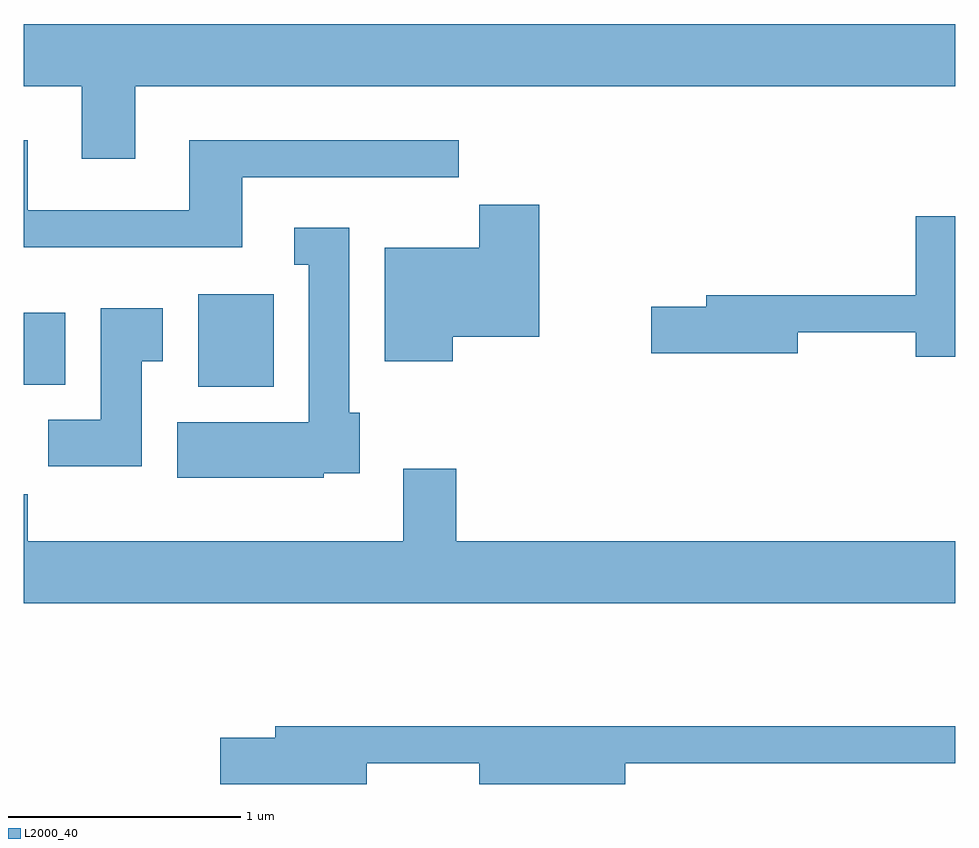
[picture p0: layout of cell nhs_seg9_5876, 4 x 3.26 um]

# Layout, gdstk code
import gdstk
lib = gdstk.Library(unit=1e-6, precision=1e-09)
def R(c, l, rs):  # rectangles x0, y0, x1, y1
    for r in rs: c.add(gdstk.rectangle(r[:2], r[2:], *l))
def P(c, l, *ps):  # polygons
    for p in ps: c.add(gdstk.Polygon(p, *l))
L2000_40 = (2000, 40)

nhs_seg9_5876 = lib.new_cell('nhs_seg9_5876')
R(nhs_seg9_5876, L2000_40, [(358.361,2068.226,358.684,2068.624), (357.611,2068.236,357.789,2068.544)])
P(nhs_seg9_5876, L2000_40, [(358.089,2069.516),(361.611,2069.516),(361.611,2069.784),(357.611,2069.784),(357.611,2069.516),(357.861,2069.516),(357.861,2069.206),(358.089,2069.206)],
  [(358.549,2069.126),(359.478,2069.126),(359.478,2069.284),(358.321,2069.284),(358.321,2068.984),(357.629,2068.984),(357.629,2069.284),(357.611,2069.284),(357.611,2068.826),(358.549,2068.826)],
  [(359.454,2068.441),(359.824,2068.441),(359.824,2069.009),(359.566,2069.009),(359.566,2068.824),(359.161,2068.824),(359.161,2068.336),(359.454,2068.336)],
  [(361.611,2068.959),(361.441,2068.959),(361.441,2068.619),(360.541,2068.619),(360.541,2068.569),(360.306,2068.569),(360.306,2068.371),(360.934,2068.371),(360.934,2068.461),(361.441,2068.461),(361.441,2068.356),(361.611,2068.356)],
  [(358.899,2067.856),(359.054,2067.856),(359.054,2068.114),(359.009,2068.114),(359.009,2068.909),(358.773,2068.909),(358.773,2068.751),(358.836,2068.751),(358.836,2068.074),(358.271,2068.074),(358.271,2067.836),(358.899,2067.836)],
  [(358.119,2068.336),(358.209,2068.336),(358.209,2068.564),(357.941,2068.564),(357.941,2068.084),(357.716,2068.084),(357.716,2067.886),(358.119,2067.886)],
  [(361.611,2067.564),(359.469,2067.564),(359.469,2067.874),(359.241,2067.874),(359.241,2067.564),(357.629,2067.564),(357.629,2067.764),(357.611,2067.764),(357.611,2067.296),(361.611,2067.296)],
  [(359.084,2066.611),(359.566,2066.611),(359.566,2066.521),(360.194,2066.521),(360.194,2066.611),(361.611,2066.611),(361.611,2066.769),(358.691,2066.769),(358.691,2066.719),(358.456,2066.719),(358.456,2066.521),(359.084,2066.521)])

lib.write_gds('nhs_seg9_5876.gds')
